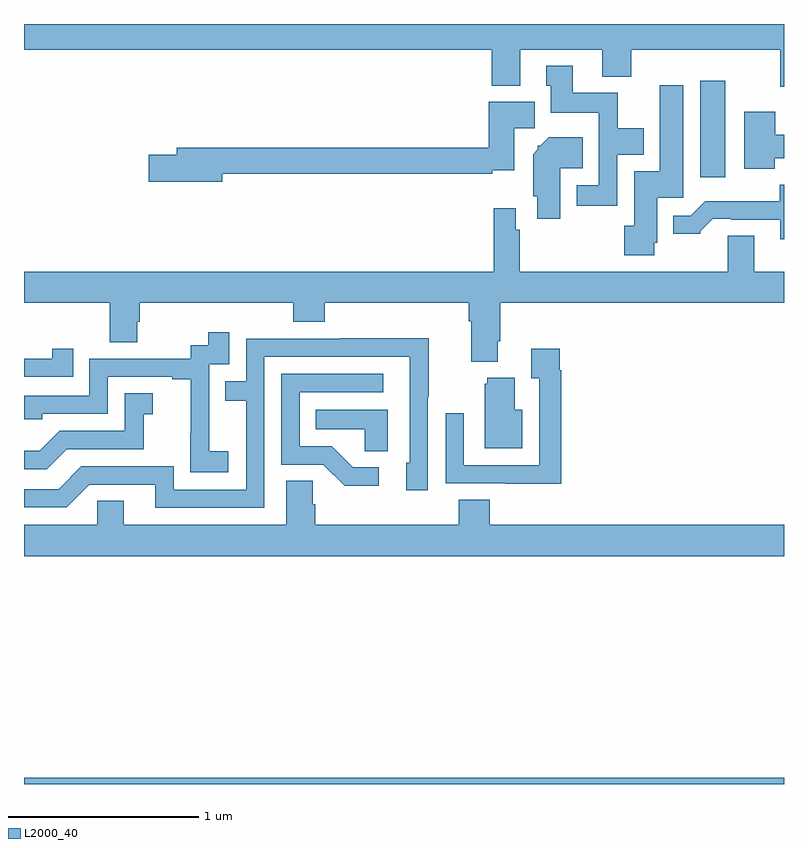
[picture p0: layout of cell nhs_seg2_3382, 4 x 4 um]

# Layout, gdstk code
import gdstk
lib = gdstk.Library(unit=1e-6, precision=1e-09)
def R(c, l, rs):  # rectangles x0, y0, x1, y1
    for r in rs: c.add(gdstk.rectangle(r[:2], r[2:], *l))
def P(c, l, *ps):  # polygons
    for p in ps: c.add(gdstk.Polygon(p, *l))
L2000_40 = (2000, 40)

nhs_seg2_3382 = lib.new_cell('nhs_seg2_3382')
R(nhs_seg2_3382, L2000_40, [(289,615.8,293,615.832), (292.559,618.993,292.69,619.501)])
P(nhs_seg2_3382, L2000_40, [(293,619.8),(289,619.8),(289,619.664),(291.461,619.664),(291.461,619.475),(291.613,619.475),(291.613,619.664),(292.043,619.664),(292.043,619.523),(292.196,619.523),(292.196,619.664),(292.979,619.664),(292.979,619.47),(293,619.47)],
  [(292.122,619.112),(292.261,619.112),(292.261,619.252),(292.125,619.252),(292.125,619.438),(291.889,619.438),(291.889,619.579),(291.749,619.579),(291.749,619.476),(291.773,619.476),(291.773,619.334),(292.026,619.334),(292.026,618.951),(291.909,618.951),(291.909,618.843),(292.122,618.843)],
  [(292.317,618.648),(292.333,618.648),(292.333,618.885),(292.471,618.885),(292.471,619.477),(292.346,619.477),(292.346,619.024),(292.211,619.024),(292.211,618.738),(292.16,618.738),(292.16,618.582),(292.317,618.582)],
  [(290.044,619.012),(291.464,619.012),(291.464,619.031),(291.58,619.031),(291.58,619.251),(291.688,619.251),(291.688,619.39),(291.446,619.39),(291.446,619.148),(289.805,619.148),(289.805,619.112),(289.656,619.112),(289.656,618.97),(290.044,618.97)],
  [(292.952,619.094),(293,619.094),(293,619.216),(292.954,619.216),(292.954,619.339),(292.79,619.339),(292.79,619.037),(292.952,619.037)],
  [(291.823,619.04),(291.941,619.04),(291.941,619.204),(291.763,619.204),(291.717,619.158),(291.705,619.158),(291.705,619.14),(291.68,619.115),(291.68,618.894),(291.701,618.894),(291.701,618.774),(291.823,618.774)],
  [(293,618.955),(292.977,618.955),(292.977,618.868),(292.585,618.868),(292.509,618.792),(292.418,618.792),(292.418,618.695),(292.56,618.695),(292.56,618.71),(292.624,618.774),(292.723,618.774),(292.723,618.771),(292.979,618.771),(292.979,618.666),(293,618.666)],
  [(293,618.496),(292.843,618.496),(292.843,618.686),(292.703,618.686),(292.703,618.496),(291.608,618.496),(291.608,618.716),(291.588,618.716),(291.588,618.829),(291.472,618.829),(291.472,618.496),(289,618.496),(289,618.332),(289.45,618.332),(289.45,618.124),(289.597,618.124),(289.597,618.234),(289.61,618.234),(289.61,618.332),(290.417,618.332),(290.417,618.233),(290.582,618.233),(290.582,618.332),(291.341,618.332),(291.341,618.236),(291.353,618.236),(291.353,618.023),(291.493,618.023),(291.493,618.13),(291.506,618.13),(291.506,618.332),(293,618.332)],
  [(290.074,617.551),(289.976,617.551),(289.976,617.78),(289.974,617.78),(289.974,618.009),(290.079,618.009),(290.079,618.178),(289.971,618.178),(289.971,618.108),(289.878,618.108),(289.878,618.039),(289.344,618.039),(289.344,617.844),(289,617.844),(289,617.721),(289.095,617.721),(289.095,617.748),(289.44,617.748),(289.44,617.943),(289.781,617.943),(289.781,617.931),(289.877,617.931),(289.877,617.647),(289.876,617.647),(289.876,617.441),(290.074,617.441)],
  [(290.265,618.048),(291.03,618.048),(291.03,617.49),(291.011,617.49),(291.011,617.346),(291.126,617.346),(291.126,617.839),(291.129,617.839),(291.129,618.146),(290.665,618.146),(290.665,618.144),(290.169,618.144),(290.169,617.919),(290.059,617.919),(290.059,617.818),(290.169,617.818),(290.169,617.349),(289.788,617.349),(289.788,617.472),(289.302,617.472),(289.182,617.352),(289,617.352),(289,617.256),(289.224,617.256),(289.344,617.376),(289.691,617.376),(289.691,617.253),(290.265,617.253)],
  [(289.259,618.091),(289.148,618.091),(289.148,618.039),(289,618.039),(289,617.943),(289.259,617.943)],
  [(291.827,617.978),(291.82,617.978),(291.82,618.091),(291.671,618.091),(291.671,617.935),(291.711,617.935),(291.711,617.478),(291.315,617.478),(291.315,617.752),(291.219,617.752),(291.219,617.382),(291.535,617.382),(291.535,617.381),(291.827,617.381)],
  [(290.866,617.466),(290.731,617.466),(290.62,617.577),(290.451,617.577),(290.451,617.862),(290.89,617.862),(290.89,617.958),(290.355,617.958),(290.355,617.481),(290.574,617.481),(290.687,617.369),(290.866,617.369)],
  [(291.622,617.77),(291.583,617.77),(291.583,617.938),(291.437,617.938),(291.437,617.907),(291.425,617.907),(291.425,617.567),(291.622,617.567)],
  [(289.225,617.562),(289.629,617.562),(289.629,617.747),(289.678,617.747),(289.678,617.857),(289.53,617.857),(289.53,617.658),(289.188,617.658),(289.084,617.554),(289,617.554),(289,617.457),(289.12,617.457)],
  [(290.914,617.77),(290.536,617.77),(290.536,617.666),(290.793,617.666),(290.793,617.551),(290.914,617.551)],
  [(293,617.164),(291.452,617.164),(291.452,617.297),(291.287,617.297),(291.287,617.164),(290.534,617.164),(290.534,617.273),(290.52,617.273),(290.52,617.396),(290.381,617.396),(290.381,617.164),(289.525,617.164),(289.525,617.291),(289.386,617.291),(289.386,617.164),(289,617.164),(289,617),(293,617)])

lib.write_gds('nhs_seg2_3382.gds')
